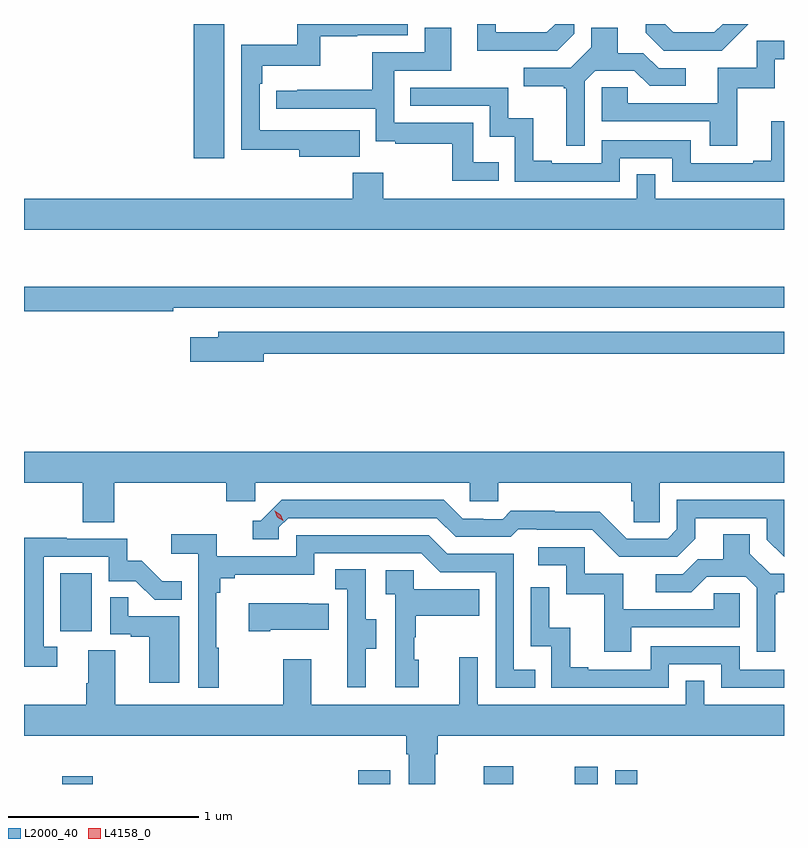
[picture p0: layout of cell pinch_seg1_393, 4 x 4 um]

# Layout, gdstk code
import gdstk
lib = gdstk.Library(unit=1e-6, precision=1e-09)
def R(c, l, rs):  # rectangles x0, y0, x1, y1
    for r in rs: c.add(gdstk.rectangle(r[:2], r[2:], *l))
def P(c, l, *ps):  # polygons
    for p in ps: c.add(gdstk.Polygon(p, *l))
L2000_40 = (2000, 40)
L4158_0 = (4158, 0)

pinch_seg1_393 = lib.new_cell('pinch_seg1_393')
R(pinch_seg1_393, L2000_40, [(999.383,534.163,999.544,534.205), (1000.94,534.163,1001.11,534.235), (1001.603,534.163,1001.758,534.256), (1002.08,534.163,1002.202,534.253), (1002.294,534.163,1002.41,534.235), (999.374,534.966,999.538,535.273), (1000.076,537.456,1000.237,538.163)])
P(pinch_seg1_393, L2000_40, [(1000.949,537.604),(1000.735,537.604),(1000.735,537.603),(1000.422,537.603),(1000.422,537.848),(1000.436,537.848),(1000.436,537.944),(1000.741,537.944),(1000.741,538.099),(1000.937,538.099),(1000.937,538.104),(1001.202,538.104),(1001.202,538.163),(1000.62,538.163),(1000.62,538.054),(1000.326,538.054),(1000.326,537.502),(1000.631,537.502),(1000.631,537.464),(1000.949,537.464)],
  [(1001.772,538.023),(1001.988,538.023),(1002.078,538.113),(1002.078,538.163),(1001.978,538.163),(1001.934,538.119),(1001.664,538.119),(1001.664,538.163),(1001.567,538.163),(1001.567,538.022),(1001.772,538.022)],
  [(1002.995,538.163),(1002.86,538.163),(1002.816,538.119),(1002.6,538.119),(1002.556,538.163),(1002.455,538.163),(1002.455,538.117),(1002.549,538.023),(1002.855,538.023)],
  [(1002.132,537.861),(1002.189,537.918),(1002.395,537.918),(1002.476,537.837),(1002.664,537.837),(1002.664,537.93),(1002.522,537.93),(1002.442,538.01),(1002.307,538.01),(1002.307,538.142),(1002.167,538.142),(1002.167,538.04),(1002.06,537.933),(1001.811,537.933),(1001.811,537.836),(1002.024,537.836),(1002.024,537.825),(1002.035,537.825),(1002.035,537.522),(1002.132,537.522)],
  [(1001.681,537.436),(1001.547,537.436),(1001.547,537.642),(1001.13,537.642),(1001.13,537.918),(1001.431,537.918),(1001.431,538.142),(1001.291,538.142),(1001.291,538.014),(1001.014,538.014),(1001.014,537.818),(1000.621,537.818),(1000.621,537.813),(1000.509,537.813),(1000.509,537.717),(1001.034,537.717),(1001.034,537.545),(1001.137,537.545),(1001.137,537.534),(1001.436,537.534),(1001.436,537.339),(1001.681,537.339)],
  [(1002.935,537.825),(1003.134,537.825),(1003.134,537.978),(1003.182,537.978),(1003.182,538.074),(1003.038,538.074),(1003.038,537.933),(1002.833,537.933),(1002.833,537.747),(1002.359,537.747),(1002.359,537.831),(1002.222,537.831),(1002.222,537.651),(1002.791,537.651),(1002.791,537.522),(1002.935,537.522)],
  [(1002.318,537.456),(1002.594,537.456),(1002.594,537.333),(1003.182,537.333),(1003.182,537.65),(1003.115,537.65),(1003.115,537.442),(1003.019,537.442),(1003.019,537.429),(1002.69,537.429),(1002.69,537.552),(1002.222,537.552),(1002.222,537.429),(1001.959,537.429),(1001.959,537.442),(1001.863,537.442),(1001.863,537.667),(1001.73,537.667),(1001.73,537.828),(1001.215,537.828),(1001.215,537.732),(1001.634,537.732),(1001.634,537.569),(1001.766,537.569),(1001.766,537.333),(1002.318,537.333)],
  [(1003.182,537.244),(1002.504,537.244),(1002.504,537.371),(1002.408,537.371),(1002.408,537.244),(1001.073,537.244),(1001.073,537.379),(1000.913,537.379),(1000.913,537.244),(999.182,537.244),(999.182,537.08),(1003.182,537.08)],
  [(999.968,536.67),(1003.182,536.67),(1003.182,536.779),(999.182,536.779),(999.182,536.65),(999.968,536.65)],
  [(1000.444,536.428),(1003.182,536.428),(1003.182,536.544),(1000.205,536.544),(1000.205,536.515),(1000.056,536.515),(1000.056,536.386),(1000.444,536.386)],
  [(999.656,535.748),(1000.247,535.748),(1000.247,535.65),(1000.398,535.65),(1000.398,535.748),(1001.529,535.748),(1001.529,535.65),(1001.679,535.65),(1001.679,535.748),(1002.377,535.748),(1002.377,535.65),(1002.391,535.65),(1002.391,535.54),(1002.528,535.54),(1002.528,535.748),(1003.182,535.748),(1003.182,535.912),(999.182,535.912),(999.182,535.748),(999.491,535.748),(999.491,535.54),(999.656,535.54)],
  [(1002.715,535.453),(1002.715,535.563),(1003.092,535.563),(1003.092,535.449),(1003.182,535.359),(1003.182,535.659),(1002.618,535.659),(1002.618,535.503),(1002.57,535.455),(1002.354,535.455),(1002.212,535.597),(1001.976,535.597),(1001.976,535.6),(1001.743,535.6),(1001.701,535.557),(1001.598,535.557),(1001.598,535.56),(1001.491,535.56),(1001.392,535.659),(1000.539,535.659),(1000.428,535.548),(1000.385,535.548),(1000.385,535.452),(1000.524,535.452),(1000.524,535.515),(1000.572,535.563),(1001.355,535.563),(1001.454,535.464),(1001.743,535.464),(1001.782,535.503),(1001.881,535.503),(1001.881,535.5),(1002.174,535.5),(1002.315,535.359),(1002.621,535.359)],
  [(1000.207,534.881),(1000.195,534.881),(1000.195,535.169),(1000.214,535.169),(1000.214,535.246),(1000.291,535.246),(1000.291,535.265),(1000.71,535.265),(1000.71,535.377),(1001.274,535.377),(1001.373,535.278),(1001.664,535.278),(1001.664,534.669),(1001.873,534.669),(1001.873,534.765),(1001.76,534.765),(1001.76,535.374),(1001.41,535.374),(1001.311,535.473),(1000.614,535.473),(1000.614,535.362),(1000.196,535.362),(1000.196,535.478),(999.957,535.478),(999.957,535.376),(1000.098,535.376),(1000.098,534.669),(1000.207,534.669)],
  [(1003.135,535.161),(1003.147,535.161),(1003.147,535.172),(1003.182,535.172),(1003.182,535.269),(1003.11,535.269),(1003.003,535.376),(1003.003,535.478),(1002.863,535.478),(1002.863,535.346),(1002.728,535.346),(1002.648,535.266),(1002.507,535.266),(1002.507,535.173),(1002.694,535.173),(1002.775,535.254),(1002.981,535.254),(1003.038,535.197),(1003.038,534.858),(1003.135,534.858)],
  [(999.358,534.885),(999.285,534.885),(999.285,535.359),(999.627,535.359),(999.627,535.23),(999.771,535.23),(999.869,535.132),(1000.013,535.132),(1000.013,535.231),(999.909,535.231),(999.802,535.338),(999.726,535.338),(999.726,535.455),(999.407,535.455),(999.407,535.46),(999.182,535.46),(999.182,534.78),(999.358,534.78)],
  [(1002.379,534.987),(1002.948,534.987),(1002.948,535.167),(1002.811,535.167),(1002.811,535.083),(1002.337,535.083),(1002.337,535.269),(1002.132,535.269),(1002.132,535.41),(1001.889,535.41),(1001.889,535.314),(1002.036,535.314),(1002.036,535.161),(1002.235,535.161),(1002.235,534.858),(1002.379,534.858)],
  [(1000.981,534.874),(1001.035,534.874),(1001.035,535.029),(1000.98,535.029),(1000.98,535.292),(1000.821,535.292),(1000.821,535.189),(1000.884,535.189),(1000.884,534.885),(1000.883,534.885),(1000.883,534.672),(1000.981,534.672)],
  [(1001.26,534.816),(1001.235,534.816),(1001.235,534.935),(1001.245,534.935),(1001.245,535.049),(1001.579,535.049),(1001.579,535.189),(1001.232,535.189),(1001.232,535.287),(1001.085,535.287),(1001.085,535.163),(1001.136,535.163),(1001.136,534.672),(1001.26,534.672)],
  [(1002.576,534.792),(1002.852,534.792),(1002.852,534.669),(1003.182,534.669),(1003.182,534.765),(1002.948,534.765),(1002.948,534.888),(1002.48,534.888),(1002.48,534.765),(1002.151,534.765),(1002.151,534.778),(1002.056,534.778),(1002.056,534.986),(1001.946,534.986),(1001.946,535.198),(1001.85,535.198),(1001.85,534.888),(1001.958,534.888),(1001.958,534.669),(1002.576,534.669)],
  [(1000,535.047),(999.731,535.047),(999.731,535.145),(999.636,535.145),(999.636,534.951),(999.743,534.951),(999.743,534.939),(999.842,534.939),(999.842,534.696),(1000,534.696)],
  [(1000.477,534.974),(1000.787,534.974),(1000.787,535.111),(1000.679,535.111),(1000.679,535.114),(1000.365,535.114),(1000.365,534.967),(1000.477,534.967)],
  [(1003.182,534.58),(1002.762,534.58),(1002.762,534.707),(1002.666,534.707),(1002.666,534.58),(1001.571,534.58),(1001.571,534.829),(1001.474,534.829),(1001.474,534.58),(1000.693,534.58),(1000.693,534.82),(1000.546,534.82),(1000.546,534.58),(999.661,534.58),(999.661,534.866),(999.521,534.866),(999.521,534.692),(999.509,534.692),(999.509,534.58),(999.182,534.58),(999.182,534.416),(1001.195,534.416),(1001.195,534.32),(1001.207,534.32),(1001.207,534.163),(1001.347,534.163),(1001.347,534.32),(1001.36,534.32),(1001.36,534.416),(1003.182,534.416)])
P(pinch_seg1_393, L4158_0, [(1000.547,535.548),(1000.516,535.568),(1000.501,535.602),(1000.501,535.602),(1000.502,535.602),(1000.532,535.581),(1000.547,535.548),(1000.547,535.548)])

lib.write_gds('pinch_seg1_393.gds')
